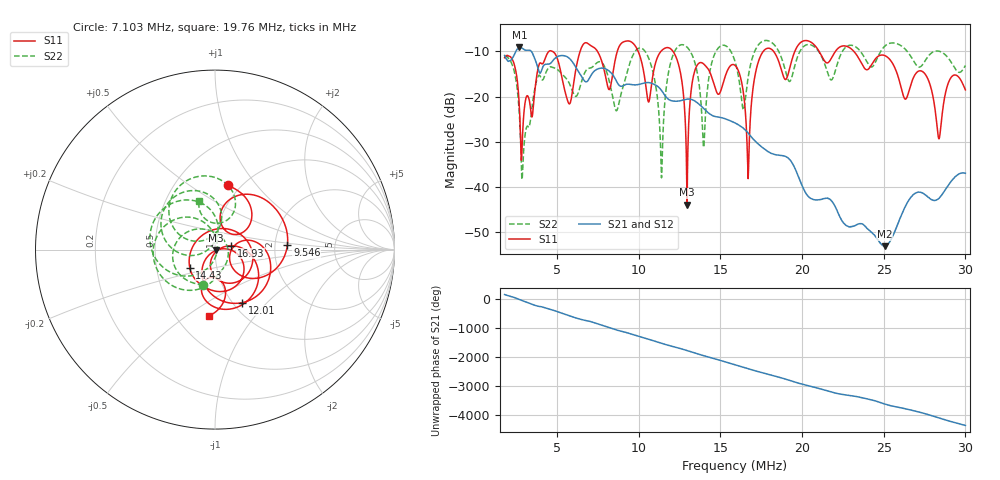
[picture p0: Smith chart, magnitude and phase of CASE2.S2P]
!Agilent Technologies,E5061B,MY49101568,A.02.00
!Date: Wed Mar 01 15:42:16 2023
!Data & Calibration Information:
!Freq	S11:SOLT2(OFF)	S21:SOLT2(OFF)	S12:SOLT2(OFF)	S22:SOLT2(OFF)
# Hz S dB R 50
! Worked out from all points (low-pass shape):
!   1155 points, 1.8 MHz to 30 MHz, reference 50 ohm
!   highest |S21| = -9.11 dB at 2.704 MHz (marker M1); lowest = -53.1 dB at 25.06 MHz (marker M2)
!   |S21| within 3 dB of the highest: 2.081 MHz to 3.7 MHz (1.62 MHz wide, 56 % of centre); 4.734 MHz to 5.909 MHz (1.175 MHz wide, 22.1 % of centre)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
!   lowest |S11| = -43.9 dB at 12.97 MHz (marker M3), VSWR 1.01, Z = 50.4 - j0.504 ohm
!   |S11| at or under -10 dB: start of sweep to 4.508 MHz; 12.11 MHz to 17.63 MHz (5.515 MHz wide, 37.1 % of centre); 23.18 MHz to end of sweep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
!   |S22| runs from -38.4 to -7.6 dB; largest |S21 - S12| = 0.0045
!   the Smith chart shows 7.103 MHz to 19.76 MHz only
!   S11 on the Smith chart (normalised r, x): 7.103 MHz: 0.88, +0.72; 9.546 MHz: 2.35, +0.14; 12.01 MHz: 1.10, -0.73; 14.43 MHz: 0.74, -0.15; 16.93 MHz: 1.20, +0.05; 19.76 MHz: 0.72, -0.61
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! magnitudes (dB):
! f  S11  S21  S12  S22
! 1.8 MHz  -11.4  -10.9  -10.8  -11.2
! 2.704 MHz  -22.3  -9.1  -9.1  -24.0
! 6.516 MHz  -9.1  -15.6  -15.6  -16.6
! 7.103 MHz  -8.8  -15.2  -15.1  -13.6
! 8.642 MHz  -10.7  -16.6  -16.5  -23.2
! 9.546 MHz  -7.9  -17.3  -17.3  -11.7
! 10.6 MHz  -21.2  -16.9  -16.9  -11.3
! 11.21 MHz  -10.9  -17.9  -17.9  -22.2
! 11.43 MHz  -9.7  -18.8  -18.8  -35.9
! 12.01 MHz  -9.6  -20.9  -21.0  -11.8
! 12.97 MHz  -43.9  -20.6  -20.6  -9.1
! 13.97 MHz  -12.7  -22.6  -22.6  -31.2
! 14.43 MHz  -15.3  -24.0  -24.0  -13.2
! 15.9 MHz  -13.1  -25.8  -25.9  -12.2
! 16.68 MHz  -36.4  -28.0  -28.0  -16.3
! 16.93 MHz  -20.6  -29.1  -29.1  -11.9
! 19.76 MHz  -8.6  -37.6  -37.6  -10.9
! 20.62 MHz  -8.1  -42.7  -42.7  -8.7
! 25.06 MHz  -10.9  -53.1  -53.1  -8.8
! 25.31 MHz  -11.5  -52.5  -52.4  -8.3
! 28.39 MHz  -29.4  -42.5  -42.4  -9.9
! 30 MHz  -18.5  -37.0  -36.9  -13.1
